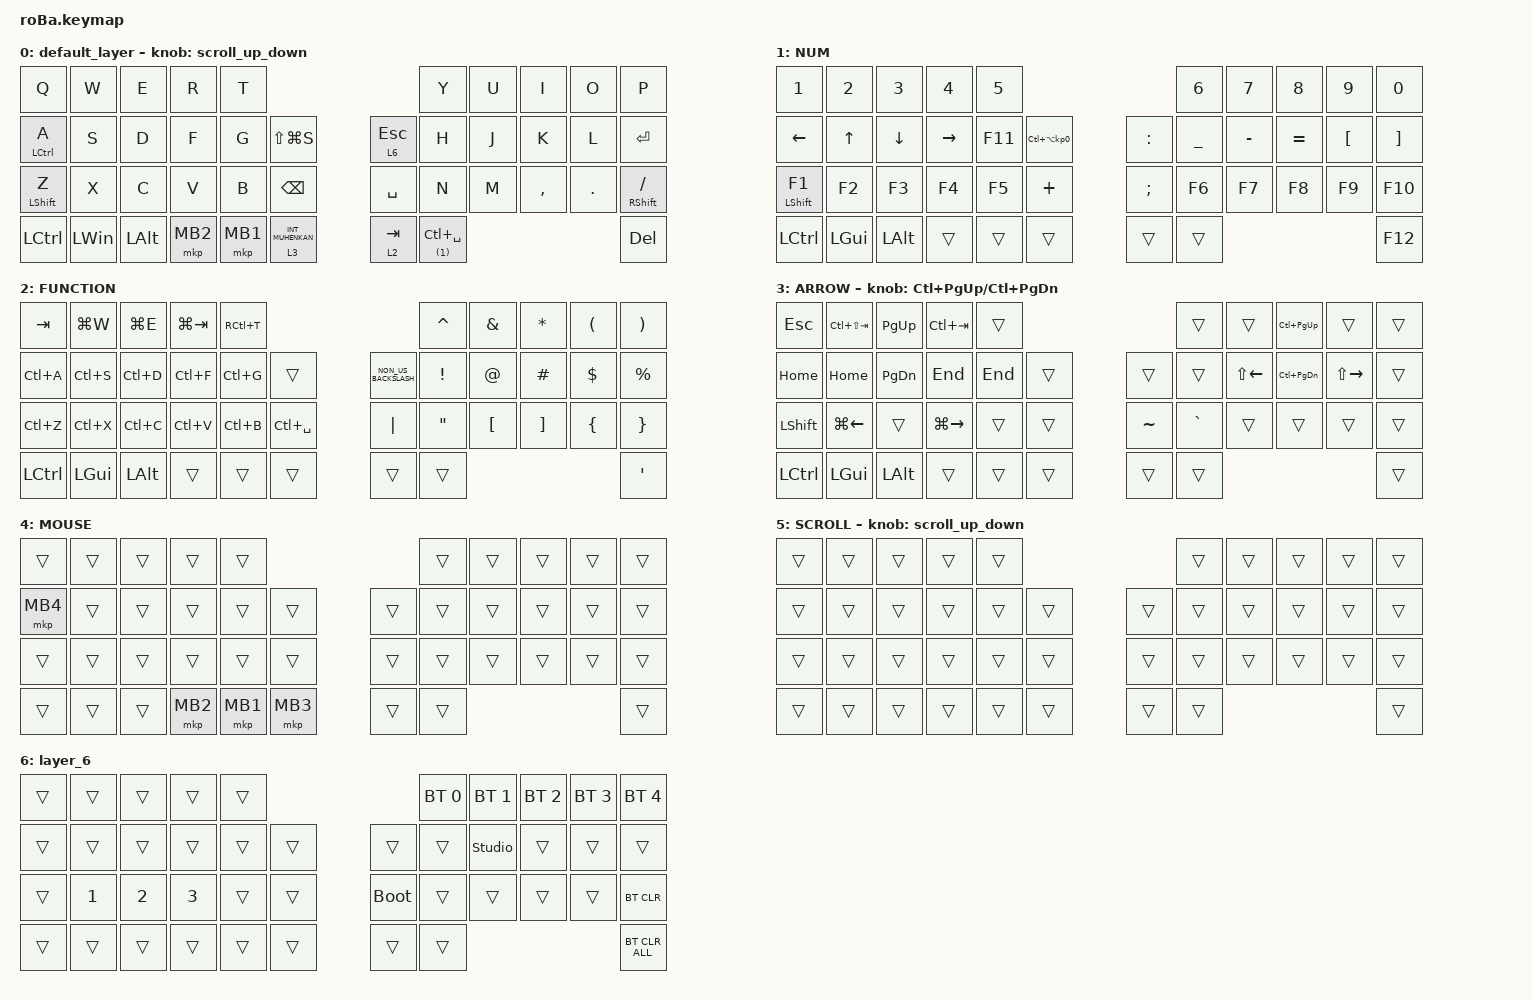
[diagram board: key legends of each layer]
#define ZMK_POINTING_DEFAULT_SCRL_VAL 70

#include <dt-bindings/zmk/input_transform.h>
#include <input/processors.dtsi>
#include <behaviors.dtsi>
#include <dt-bindings/zmk/bt.h>
#include <dt-bindings/zmk/keys.h>
#include <dt-bindings/zmk/pointing.h>

&mt {
    flavor = "balanced";
    quick-tap-ms = <0>;
};

&trackball {
    //automouse-layer = <4>;

    scroll-layers = <3>;

    // arrows {
    //     layers = <3>;
    //     bindings =
    //         <&kp RIGHT_ARROW>,
    //         <&kp LEFT_ARROW>,
    //         <&kp UP_ARROW>,
    //         <&kp DOWN_ARROW>;
    //     tick = <10>;
    //     wait-ms = <5>;
    //     tap-ms = <5>;
    // };
};

&trackball_listener {
    // status = "okay";
    input-processors = <&zip_xy_transform (INPUT_TRANSFORM_X_INVERT | INPUT_TRANSFORM_Y_INVERT)>;
};

/ {
    combos {
        compatible = "zmk,combos";

        tab {
            bindings = <&mkp MB3>;
            key-positions = <19 19 20>;
        };

        shift_tab {
            bindings = <&mkp MB5>;
            key-positions = <20 21>;
        };

        muhennkann {
            bindings = <&mkp MB4>;
            key-positions = <18 19>;
        };
    };

    macros {
        to_layer_0: to_layer_0 {
            compatible = "zmk,behavior-macro-one-param";
            #binding-cells = <1>;
            bindings = <&to 0 &macro_param_1to1 &kp MACRO_PLACEHOLDER>;
            label = "TO_LAYER_0";
        };
    };

    behaviors {
        lt_to_layer_0: lt_to_layer_0 {
            compatible = "zmk,behavior-hold-tap";
            label = "LAYER_TAP_TO_0";
            bindings = <&mo>, <&to_layer_0>;

            #binding-cells = <2>;
            tapping-term-ms = <200>;
        };

        scroll_up_down: behavior_sensor_rotate {
            compatible = "zmk,behavior-sensor-rotate";
            #sensor-binding-cells = <0>;
            bindings = <&msc SCRL_UP>, <&msc SCRL_DOWN>;

            // 追加: スクロールのタップ時間を設定 (20ms)

            tap-ms = <20>;
            label = "sensor_rotate";
        };
    };

    keymap {
        compatible = "zmk,keymap";

        default_layer {
            bindings = <
&kp Q             &kp W         &kp E         &kp R     &kp T                                                                 &kp Y                         &kp U  &kp I      &kp O    &kp P
&mt LCTRL A       &kp S         &kp D         &kp F     &kp G     &kp LS(LG(S))                      &lt_to_layer_0 6 ESCAPE  &kp H                         &kp J  &kp K      &kp L    &kp ENTER
&mt LEFT_SHIFT Z  &kp X         &kp C         &kp V     &kp B     &kp BACKSPACE                      &kp SPACE                &kp N                         &kp M  &kp COMMA  &kp DOT  &mt RIGHT_SHIFT SLASH
&kp LCTRL         &kp LEFT_WIN  &kp LEFT_ALT  &mkp MB2  &mkp MB1  &lt_to_layer_0 3 INT_MUHENKAN      &lt_to_layer_0 2 TAB     &lt_to_layer_0 (1) LC(SPACE)                             &kp DEL
            >;

            sensor-bindings = <&scroll_up_down>;
        };

        NUM {
            bindings = <
&kp N1             &kp N2        &kp N3          &kp N4           &kp N5                                               &kp N6          &kp N7     &kp N8     &kp N9            &kp N0
&kp LEFT_ARROW     &kp UP_ARROW  &kp DOWN_ARROW  &kp RIGHT_ARROW  &kp F11  &kp LC(LA(KP_NUMBER_0))      &kp COLON      &kp UNDERSCORE  &kp MINUS  &kp EQUAL  &kp LEFT_BRACKET  &kp RIGHT_BRACKET
&mt LEFT_SHIFT F1  &kp F2        &kp F3          &kp F4           &kp F5   &kp PLUS                     &kp SEMICOLON  &kp F6          &kp F7     &kp F8     &kp F9            &kp F10
&kp LCTRL          &kp LEFT_GUI  &kp LEFT_ALT    &trans           &trans   &trans                       &trans         &trans                                                  &kp F12
            >;
        };

        FUNCTION {
            bindings = <
&kp TAB    &kp LG(W)     &kp LG(E)     &kp LG(TAB)  &kp RC(T)                                           &kp CARET          &kp AMPERSAND     &kp ASTERISK       &kp LEFT_PARENTHESIS  &kp RIGHT_PARENTHESIS
&kp LC(A)  &kp LC(S)     &kp LC(D)     &kp LC(F)    &kp LC(G)  &trans             &kp NON_US_BACKSLASH  &kp EXCLAMATION    &kp AT_SIGN       &kp HASH           &kp DOLLAR            &kp PERCENT
&kp LC(Z)  &kp LC(X)     &kp LC(C)     &kp LC(V)    &kp LC(B)  &kp LC(SPACE)      &kp PIPE              &kp DOUBLE_QUOTES  &kp LEFT_BRACKET  &kp RIGHT_BRACKET  &kp LEFT_BRACE        &kp RIGHT_BRACE
&kp LCTRL  &kp LEFT_GUI  &kp LEFT_ALT  &trans       &trans     &trans             &trans                &trans                                                                        &kp SQT
            >;
        };

        ARROW {
            bindings = <
&kp ESCAPE      &kp LC(LS(TAB))     &kp PAGE_UP    &kp LC(TAB)          &trans                          &trans     &trans              &kp LC(PAGE_UP)    &trans               &trans
&kp HOME        &kp HOME            &kp PAGE_DOWN  &kp END              &kp END  &trans      &trans     &trans     &kp LS(LEFT_ARROW)  &kp LC(PAGE_DOWN)  &kp LS(RIGHT_ARROW)  &trans
&kp LEFT_SHIFT  &kp LG(LEFT_ARROW)  &trans         &kp LG(RIGHT_ARROW)  &trans   &trans      &kp TILDE  &kp GRAVE  &trans              &trans             &trans               &trans
&kp LCTRL       &kp LEFT_GUI        &kp LEFT_ALT   &trans               &trans   &trans      &trans     &trans                                                                 &trans
            >;

            sensor-bindings = <&inc_dec_kp LC(PAGE_UP) LC(PAGE_DOWN)>;
        };

        MOUSE {
            bindings = <
&trans    &trans  &trans  &trans    &trans                          &trans  &trans  &trans  &trans  &trans
&mkp MB4  &trans  &trans  &trans    &trans    &trans        &trans  &trans  &trans  &trans  &trans  &trans
&trans    &trans  &trans  &trans    &trans    &trans        &trans  &trans  &trans  &trans  &trans  &trans
&trans    &trans  &trans  &mkp MB2  &mkp MB1  &mkp MB3      &trans  &trans                          &trans
            >;
        };

        SCROLL {
            bindings = <
&trans  &trans  &trans  &trans  &trans                      &trans  &trans  &trans  &trans  &trans
&trans  &trans  &trans  &trans  &trans  &trans      &trans  &trans  &trans  &trans  &trans  &trans
&trans  &trans  &trans  &trans  &trans  &trans      &trans  &trans  &trans  &trans  &trans  &trans
&trans  &trans  &trans  &trans  &trans  &trans      &trans  &trans                          &trans
            >;

            sensor-bindings = <&scroll_up_down>;
        };

        layer_6 {
            bindings = <
&trans  &trans        &trans        &trans        &trans                           &bt BT_SEL 0  &bt BT_SEL 1    &bt BT_SEL 2  &bt BT_SEL 3  &bt BT_SEL 4
&trans  &trans        &trans        &trans        &trans  &trans      &trans       &trans        &studio_unlock  &trans        &trans        &trans
&trans  &kp NUMBER_1  &kp NUMBER_2  &kp NUMBER_3  &trans  &trans      &bootloader  &trans        &trans          &trans        &trans        &bt BT_CLR
&trans  &trans        &trans        &trans        &trans  &trans      &trans       &trans                                                    &bt BT_CLR_ALL
            >;
        };
    };
};
